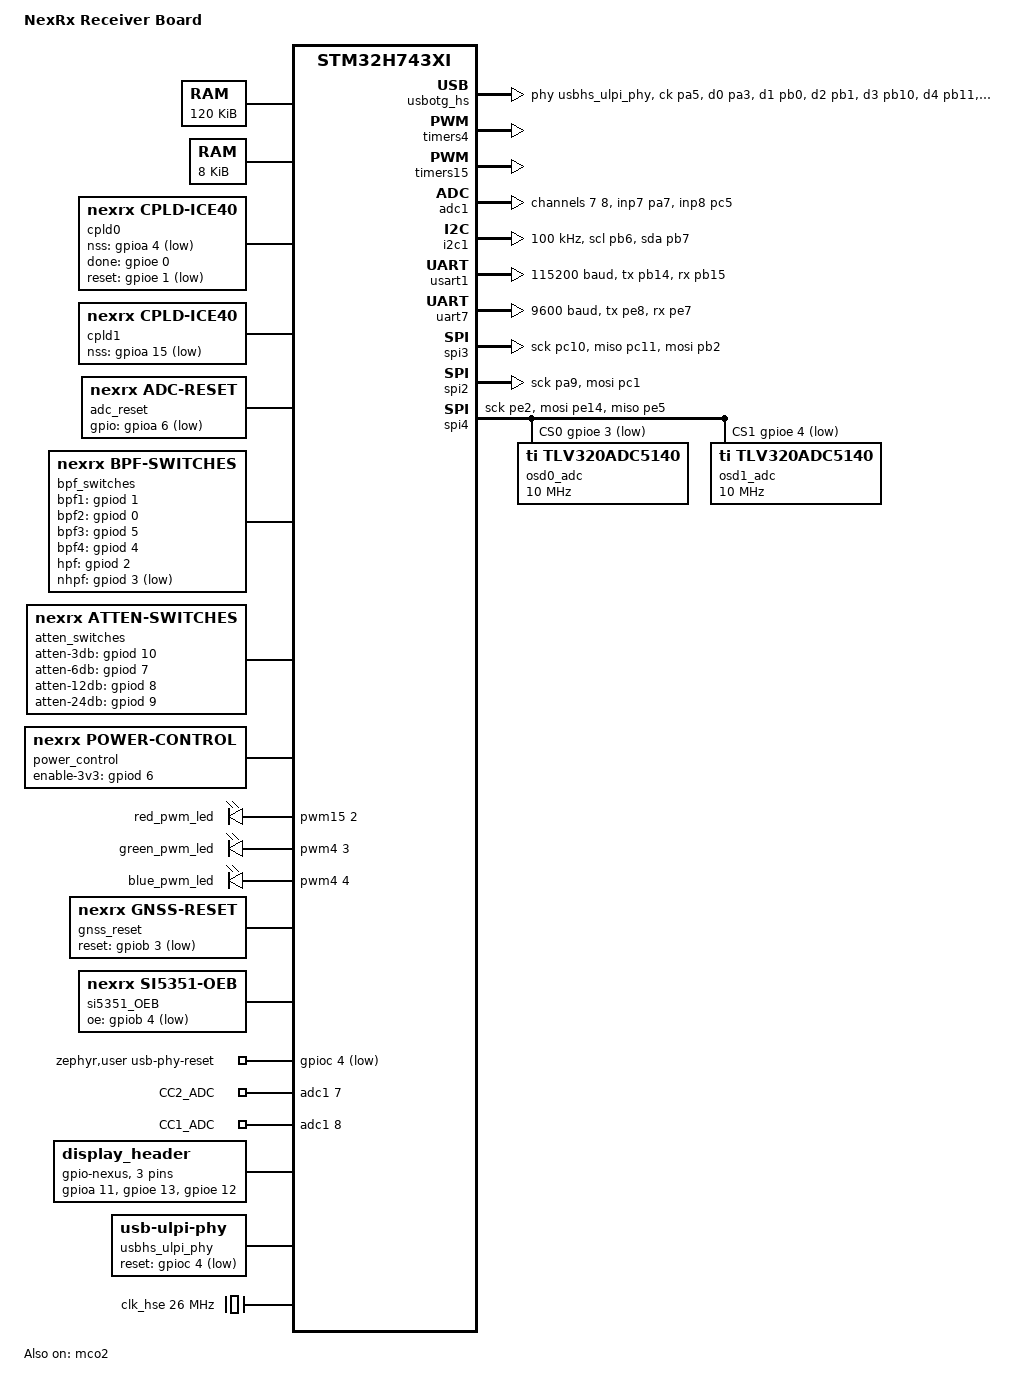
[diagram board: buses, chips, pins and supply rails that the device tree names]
/dts-v1/;
#include <st/h7/stm32h743Xi.dtsi>
#include <st/h7/stm32h743vitx-pinctrl.dtsi>
#include <zephyr/dt-bindings/memory-attr/memory-attr-arm.h>
#include <zephyr/dt-bindings/pwm/pwm.h>

/delete-node/ &sram1;

/ {
	model = "NexRx Receiver Board";
	compatible = "nexrx,nexrx-rx";

	chosen {
		zephyr,sram = &sram0;
		zephyr,flash = &flash0;
		zephyr,nocache = &sram1_nocache;
		zephyr,dtcm = &dtcm;
		//		zephyr,console = &console_uart;
		//		zephyr,shell-uart = &console_uart;
		zephyr,console = &factory_console;
		zephyr,shell-uart = &factory_console;
		zephyr,udc0 = &usbotg_hs;
		zephyr,display = &disp;
	};

	aliases {
		si5351-i2c = &i2c1;
		display-spi = &spi2;
		cpld-spi = &spi3;
		osd-spi = &spi4;

		gnss-uart = &uart7;
	};

	/* Shrink sram1 so it starts after our 8KB carve-out */
	sram1: memory@30002000 {
		compatible = "mmio-sram";
		reg = <0x30002000 0x0001e000>;
	};

	/* Carve out the 8KB (0x2000 bytes) naturally aligned at 0x30000000 */
	sram1_nocache: memory@30000000 {
		compatible = "zephyr,memory-region", "mmio-sram";
		reg = <0x30000000 0x00002000>;
		zephyr,memory-region = "SRAM1_NOCACHE";
		zephyr,memory-attr = <( DT_MEM_ARM(ATTR_MPU_RAM_NOCACHE) )>;
	};

	cpld0: cpld0 {
		compatible = "nexrx,cpld-ice40";
		nss-gpios = <&gpioa 4 GPIO_ACTIVE_LOW>;
		done-gpios = <&gpioe 0 GPIO_ACTIVE_HIGH>;
		reset-gpios = <&gpioe 1 GPIO_ACTIVE_LOW>;
		status = "okay";
	};

	cpld1: cpld1 {
		compatible = "nexrx,cpld-ice40";
		nss-gpios = <&gpioa 15 GPIO_ACTIVE_LOW>;
		status = "okay";
	};

	adc_reset: adc_reset {
		compatible = "nexrx,adc-reset";
		gpios = <&gpioa 6 GPIO_ACTIVE_LOW>;
		status = "okay";
	};

	bpf_switches: bpf_switches {
		compatible = "nexrx,bpf-switches";
		bpf1-gpios = <&gpiod 1 GPIO_ACTIVE_HIGH>;
		bpf2-gpios = <&gpiod 0 GPIO_ACTIVE_HIGH>;
		bpf3-gpios = <&gpiod 5 GPIO_ACTIVE_HIGH>;
		bpf4-gpios = <&gpiod 4 GPIO_ACTIVE_HIGH>;
		hpf-gpios = <&gpiod 2 GPIO_ACTIVE_HIGH>;
		nhpf-gpios = <&gpiod 3 GPIO_ACTIVE_LOW>;
		status = "okay";
	};

	atten_switches: atten_switches {
		compatible = "nexrx,atten-switches";
		atten-3db-gpios = <&gpiod 10 GPIO_ACTIVE_HIGH>;
		atten-6db-gpios = <&gpiod 7 GPIO_ACTIVE_HIGH>;
		atten-12db-gpios = <&gpiod 8 GPIO_ACTIVE_HIGH>;
		atten-24db-gpios = <&gpiod 9 GPIO_ACTIVE_HIGH>;
		status = "okay";
	};

	power_control: power_control {
		compatible = "nexrx,power-control";
		enable-3v3-gpios = <&gpiod 6 GPIO_ACTIVE_HIGH>;
		status = "okay";
	};

	pwmleds {
		compatible = "pwm-leds";

		// Red and blue are swapped in the pinout on EVT boards.
		// XXX Fix this and reverse them back on future boards.
		red_pwm_led: red_pwm_led {
			pwms = <&pwm15 2 PWM_HZ(417) PWM_POLARITY_NORMAL>;
		};
		green_pwm_led: green_pwm_led {
			pwms = <&pwm4 3 PWM_HZ(417) PWM_POLARITY_NORMAL>;
		};
		blue_pwm_led: blue_pwm_led {
			pwms = <&pwm4 4 PWM_HZ(417) PWM_POLARITY_NORMAL>;
		};
	};

	gnss_reset: gnss_reset {
		compatible = "nexrx,gnss-reset";
		reset-gpios = <&gpiob 3 GPIO_ACTIVE_LOW>;
		status = "okay";
	};

	si5351_OEB: si5351_OEB {
		compatible = "nexrx,si5351-oeb";
		oe-gpios = <&gpiob 4 GPIO_ACTIVE_LOW>;
		status = "okay";
	};

	zephyr,user {
		/* USB-C CC Monitor ADC Channels */
		io-channels = <&adc1 7>, <&adc1 8>;
		io-channel-names = "CC2_ADC", "CC1_ADC";
		usb-phy-reset-gpios = <&gpioc 4 GPIO_ACTIVE_LOW>;
	};

	display_header: display-header {
		compatible = "zephyr,gpio-nexus";
		#gpio-cells = <2>;
		gpio-map =
		<0 0 &gpioa 11 0>,  /* PA11: SPI /CS (in software) */
		<1 0 &gpioe 13 0>,  /* PE13: D/C pin */
		<2 0 &gpioe 12 0>;  /* PE12: RESET pin */
	};

	soc {
		usbotg_hs: usb@40040000 {
			compatible = "st,stm32-otghs";
			reg = <0x40040000 0x40000>;
			interrupts = <74 0>, <75 0>, <76 0>, <77 0>;
			interrupt-names = "ep1_out", "ep1_in", "wkup", "otghs";
			num-bidir-endpoints = <9>;
			ram-size = <4096>;
			maximum-speed = "full-speed";
			clocks = <&rcc STM32_CLOCK(AHB1, 25)>,
			<&rcc STM32_SRC_HSI48 USB_SEL(3)>;
			phys = <&otghs_fs_phy>;
			status = "disabled";
		};
	};

	usbhs_ulpi_phy: usbhs_ulpi_phy {
		compatible = "usb-ulpi-phy";
		#phy-cells = <0>;
		reset-gpios = <&gpioc 4 GPIO_ACTIVE_LOW>;
	};
};

&timers4 {
  status = "okay";
  st,prescaler = <239>;

  pwm4: pwm {
    status = "okay";
    pinctrl-0 = <&tim4_ch3_pb8 &tim4_ch4_pb9>;
    pinctrl-names = "default";
  };
};

&timers15 {
  status = "okay";
  st,prescaler = <239>;

  pwm15: pwm {
    status = "okay";
    pinctrl-0 = <&tim15_ch2_pe6>;
    pinctrl-names = "default";
  };
};

&pinctrl {
	usb_otg_hs_ulpi_ck_pa5 {
		slew-rate = "very-high-speed";
	};
	usb_otg_hs_ulpi_d0_pa3 {
		slew-rate = "very-high-speed";
	};
	usb_otg_hs_ulpi_d1_pb0 {
		slew-rate = "very-high-speed";
	};
	usb_otg_hs_ulpi_d2_pb1 {
		slew-rate = "very-high-speed";
	};
	usb_otg_hs_ulpi_d3_pb10 {
		slew-rate = "very-high-speed";
	};
	usb_otg_hs_ulpi_d4_pb11 {
		slew-rate = "very-high-speed";
	};
	usb_otg_hs_ulpi_d5_pb12 {
		slew-rate = "very-high-speed";
	};
	usb_otg_hs_ulpi_d6_pb13 {
		slew-rate = "very-high-speed";
	};
	usb_otg_hs_ulpi_d7_pb5 {
		slew-rate = "very-high-speed";
	};
	usb_otg_hs_ulpi_stp_pc0 {
		slew-rate = "very-high-speed";
	};
	usb_otg_hs_ulpi_dir_pc2_c {
		slew-rate = "very-high-speed";
	};
	usb_otg_hs_ulpi_nxt_pc3_c {
		slew-rate = "very-high-speed";
	};
};

&usbotg_hs {
	pinctrl-0 = <&usb_otg_hs_ulpi_ck_pa5
	&usb_otg_hs_ulpi_d0_pa3
	&usb_otg_hs_ulpi_d1_pb0
	&usb_otg_hs_ulpi_d2_pb1
	&usb_otg_hs_ulpi_d3_pb10
	&usb_otg_hs_ulpi_d4_pb11
	&usb_otg_hs_ulpi_d5_pb12
	&usb_otg_hs_ulpi_d6_pb13
	&usb_otg_hs_ulpi_d7_pb5
	&usb_otg_hs_ulpi_stp_pc0
	&usb_otg_hs_ulpi_dir_pc2_c
	&usb_otg_hs_ulpi_nxt_pc3_c>;
	pinctrl-names = "default";
	clocks = <&rcc STM32_CLOCK_BUS_AHB1 0x06000000>,
	<&rcc STM32_SRC_HSI48 USB_SEL(3)>;
	phys = <&usbhs_ulpi_phy>;
	maximum-speed = "high-speed";
	status = "okay";

	console_uart: cdc_acm_uart0 {
		compatible = "zephyr,cdc-acm-uart";
		label = "NexRx Console";
	};

	control_plane_uart: cdc_acm_uart1 {
		compatible = "zephyr,cdc-acm-uart";
		label = "NexRx Control Plane";
	};
};

&usbotg_fs {
	status = "disabled";
};

&adc1 {				/* USB CC1/CC2 pin sense */
	pinctrl-0 = <&adc1_inp7_pa7 &adc1_inp8_pc5>;
	pinctrl-names = "default";
	st,adc-clock-source = "SYNC";
	st,adc-prescaler = <4>;
	status = "okay";
	#address-cells = <1>;
	#size-cells = <0>;


	usbcc2_adc: channel@7 {
		reg = <7>;
		zephyr,gain = "ADC_GAIN_1";
		zephyr,reference = "ADC_REF_INTERNAL";
		zephyr,acquisition-time = <ADC_ACQ_TIME_DEFAULT>;
		zephyr,resolution = <12>;
	};
	usbcc1_adc: channel@8 {
		reg = <8>;
		zephyr,gain = "ADC_GAIN_1";
		zephyr,reference = "ADC_REF_INTERNAL";
		zephyr,acquisition-time = <ADC_ACQ_TIME_DEFAULT>;
		zephyr,resolution = <12>;
	};
};

&i2c1 {				/* clk (Si5351) I2C */
	pinctrl-0 = <&i2c1_scl_pb6 &i2c1_sda_pb7>;
	pinctrl-names = "default";
	status = "okay";
	clock-frequency = <I2C_BITRATE_STANDARD>;
};

&clk_hse {
	// This will change to 40MHz TCXO in future hw builds
	clock-frequency = <DT_FREQ_M(26)>;
	status = "okay";
};

&mco2 {
	// This will change to when we switch to 40MHz TCXO in future hw builds
	clocks = <&rcc STM32_SRC_HSE MCO2_SEL(2)>;
	prescaler = <MCO2_PRE(MCO_PRE_DIV_1)>;
	pinctrl-0 = <&rcc_mco_2_pc9>;
	pinctrl-names = "default";
	status = "okay";
};

&rcc_mco_2_pc9 {
	slew-rate = "medium-speed"; /* or "high-speed" */
};

&clk_hsi48 {
	status = "okay";
};

&pll {
	div-m = <13>;
	mul-n = <400>;
	div-p = <2>;
	div-q = <2>;
	div-r = <2>;
	clocks = <&clk_hse>;
	status = "okay";
};

&rcc {
	clocks = <&pll>;
	clock-frequency = <DT_FREQ_M(400)>;
	d1cpre = <1>;
	hpre = <2>;
	d1ppre = <2>;
	d2ppre2 = <2>;
	d2ppre1 = <2>;
	d3ppre = <2>;
};

factory_console: &usart1 {			/* FACTORY UART test pads */
	pinctrl-0 = <&usart1_tx_pb14 &usart1_rx_pb15>;
	pinctrl-names = "default";
	current-speed = <115200>;
	status = "okay";
};

&uart7 {			/* GNSS UART */
	pinctrl-0 = <&uart7_tx_pe8 &uart7_rx_pe7>;
	pinctrl-names = "default";
	current-speed = <9600>;
	status = "okay";
};


&spi3 {				/* CPLD0/CPLD1 */
	status = "okay";
	pinctrl-0 = <&spi3_sck_pc10 &spi3_miso_pc11 &spi3_mosi_pb2>;
	pinctrl-names = "default";
	cs-gpios = <&gpioa 4 GPIO_ACTIVE_LOW>, <&gpioa 15 GPIO_ACTIVE_LOW>;
};

&spi3_miso_pc11 {
	/delete-property/ bias-pull-down;
	bias-pull-up;		/* XXX TEMPORARY HACK */
};


&spi2 {				/* Display */
	status = "okay";
	pinctrl-0 = <&spi2_sck_pa9 &spi2_mosi_pc1>;
	pinctrl-names = "default";
	cs-gpios = <&display_header 0 GPIO_ACTIVE_LOW>;
};

&spi4 {				/* OSD0/OSD1 */
	pinctrl-0 = <&spi4_sck_pe2 &spi4_mosi_pe14 &spi4_miso_pe5>;
	pinctrl-names = "default";
	cs-gpios = <&gpioe 3 GPIO_ACTIVE_LOW>, <&gpioe 4 GPIO_ACTIVE_LOW>;
	status = "okay";

	osd0_adc: tlv320adc5140@0 {
		compatible = "ti,tlv320adc5140";
		reg = <0>;
		spi-max-frequency = <10000000>;
	};

	osd1_adc: tlv320adc5140@1 {
		compatible = "ti,tlv320adc5140";
		reg = <1>;
		spi-max-frequency = <10000000>;
	};
};

&pwr {
	power-supply = "ldo";
};

